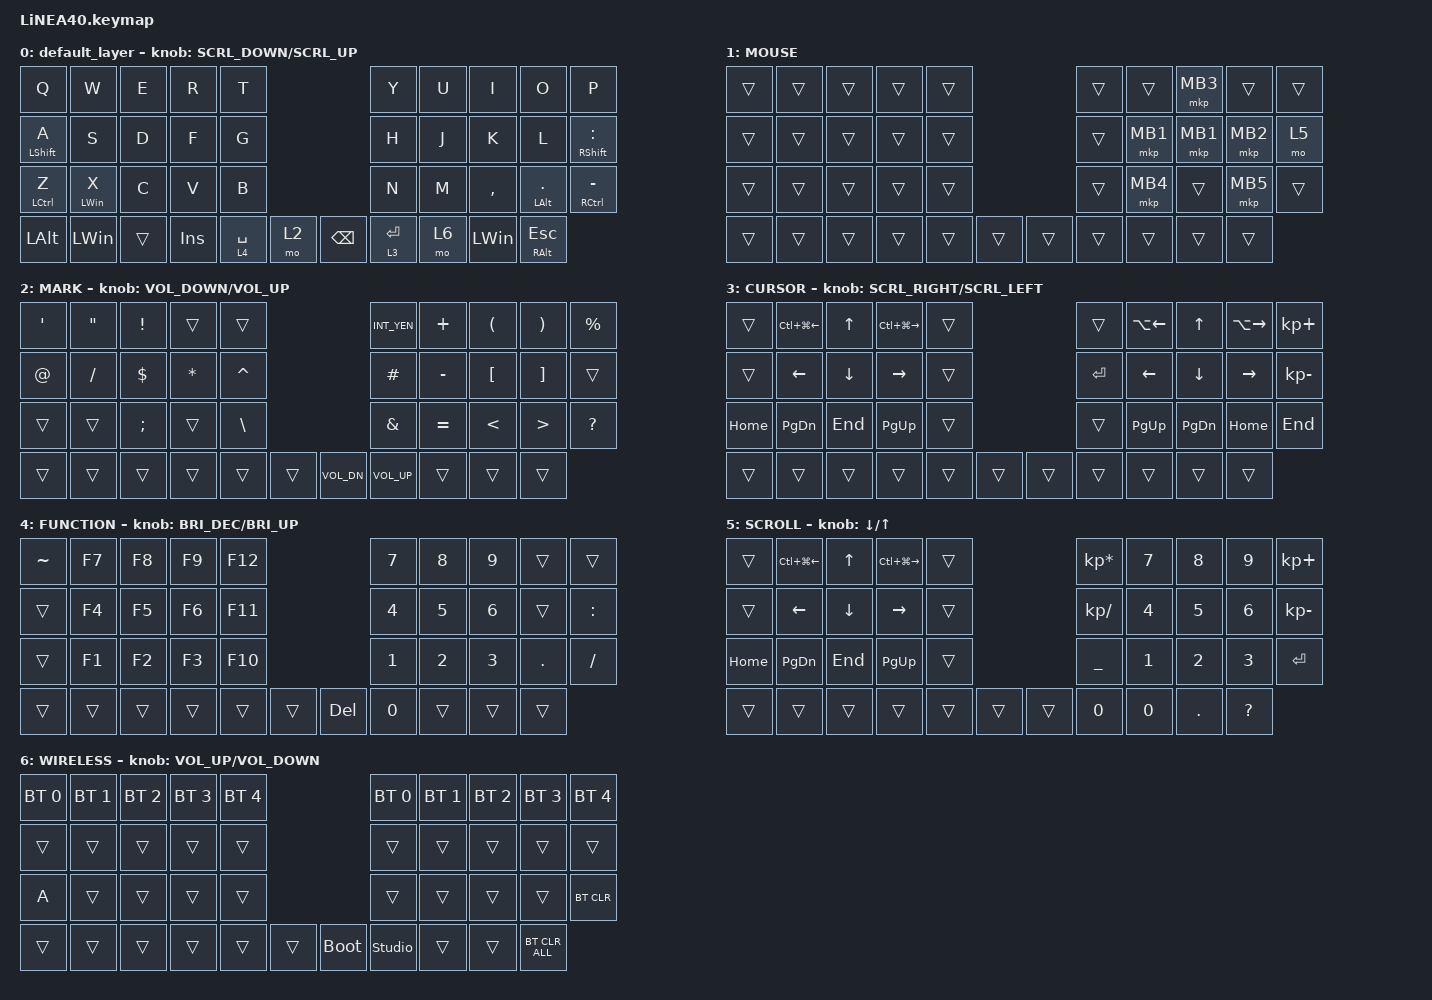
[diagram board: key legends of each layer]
#define ZMK_POINTING_DEFAULT_SCRL_VAL 100

#include <dt-bindings/zmk/input_transform.h>
#include <input/processors.dtsi>
#include <zephyr/dt-bindings/input/input-event-codes.h>
#include <behaviors.dtsi>
#include <dt-bindings/zmk/bt.h>
#include <dt-bindings/zmk/keys.h>
#include <dt-bindings/zmk/pointing.h>

#define MOUSE 1
#define MARK 2
#define CURSOR 3
#define FUNCTION 4
#define SCROLL 5
#define WIRELESS 6

//mouse cursol

&mmv {
    delay-ms = <20>;
    trigger-period-ms = <10>;
    time-to-max-speed-ms = <100>;
    acceleration-exponent = <2>;
};

//mouse scroll

&msc {
    delay-ms = <3>;
    trigger-period-ms = <3>;
    time-to-max-speed-ms = <100>;
    acceleration-exponent = <0>;
};

/ {
    input_processors {
        zip_wheel_scaler: zip_wheel_scaler {
            compatible = "zmk,input-processor-scaler";
            #input-processor-cells = <2>;
            type = <INPUT_EV_REL>;
            codes = <INPUT_REL_WHEEL>;
            track-remainders;
        };
    };
};

&msc_input_listener {
    speed_up {
        layers = <FUNCTION>;
        input-processors = <&zip_wheel_scaler 3 1>; //スクロールを3倍速にする
    };
};

&trackball_listener {
    scroller {
        layers = <MARK SCROLL>;
        input-processors =
            <&zip_xy_transform INPUT_TRANSFORM_Y_INVERT>,
            <&zip_xy_to_scroll_mapper>,
            <&zip_wheel_scaler 1 3>;
 // 1/3 にして細かく
    };
};

/ {
    combos {
        compatible = "zmk,combos";

        COMBO_TAB {
            bindings = <&kp TAB>;
            key-positions = <3 1>;
        };

        COMBO_SHIFTTAB {
            bindings = <&kp LS(TAB)>;
            key-positions = <3 2 1>;
        };

        COMBO_CLICK1 {
            bindings = <&mkp MB1>;
            key-positions = <16 17>;
        };

        COMBO_LAN1 {
            bindings = <&kp LANG1>;
            key-positions = <27 28>;
        };

        COMBO_LANG2 {
            bindings = <&kp LANGUAGE_2>;
            key-positions = <21 22>;
        };

        COMBO_CLICK2 {
            bindings = <&mkp MB2>;
            key-positions = <17 18>;
        };

        COMBO_CLICK3 {
            bindings = <&mkp MB3>;
            key-positions = <16 18>;
        };

        Scroll {
            bindings = <&mo 5>;
            key-positions = <17 16 18>;
        };

        COMBO_ESC {
            bindings = <&kp ESCAPE>;
            key-positions = <2 1>;
        };

        COMBO_BS {
            bindings = <&kp BACKSPACE>;
            key-positions = <13 12>;
        };
    };

    behaviors {
        re_kp: sensor_rotate_kp {
            compatible = "zmk,behavior-sensor-rotate-var";
            #sensor-binding-cells = <2>;
            bindings = <&kp>, <&kp>;
        };

        mouse_scrl: mouse_wheel_scrl {
            compatible = "zmk,behavior-sensor-rotate-var";
            #sensor-binding-cells = <2>;
            bindings = <&msc>, <&msc>;

            tap-ms = <20>;
        };

        mt3: mod_tap3 {
            compatible = "zmk,behavior-hold-tap";
            bindings = <&kp>, <&kp>;

            #binding-cells = <2>;
            tapping-term-ms = <200>;
            flavor = "tap-preferred";
        };
    };

    keymap {
        compatible = "zmk,keymap";

        default_layer {
            bindings = <
&kp Q                &kp W           &kp E   &kp R    &kp T                                &kp Y        &kp U  &kp I      &kp O             &kp P
&mt3 LEFT_SHIFT A    &kp S           &kp D   &kp F    &kp G                                &kp H        &kp J  &kp K      &kp L             &mt3 RIGHT_SHIFT COLON
&mt3 LEFT_CONTROL Z  &mt LEFT_WIN X  &kp C   &kp V    &kp B                                &kp N        &kp M  &kp COMMA  &mt LEFT_ALT DOT  &mt3 RIGHT_CONTROL MINUS
&kp LEFT_ALT         &kp LEFT_WIN    &trans  &kp INS  &lt 4 SPACE  &mo 2    &kp BACKSPACE  &lt 3 ENTER         &mo 6      &kp LEFT_WIN      &mt3 RIGHT_ALT ESCAPE
            >;

            sensor-bindings = <&mouse_scrl SCRL_DOWN SCRL_UP>;
        };

        //1

        MOUSE {
            bindings = <
&trans  &trans  &trans  &trans  &trans                    &trans  &trans    &mkp MB3  &trans    &trans
&trans  &trans  &trans  &trans  &trans                    &trans  &mkp MB1  &mkp MB1  &mkp MB2  &mo 5
&trans  &trans  &trans  &trans  &trans                    &trans  &mkp MB4  &trans    &mkp MB5  &trans
&trans  &trans  &trans  &trans  &trans  &trans    &trans  &trans            &trans    &trans    &trans
            >;
        };

        //2

        MARK {
            bindings = <
&kp SINGLE_QUOTE  &kp DOUBLE_QUOTES  &kp EXCL       &trans     &trans                                 &kp INT_YEN      &kp PLUS   &kp LEFT_PARENTHESIS  &kp RIGHT_PARENTHESIS  &kp PERCENT
&kp AT_SIGN       &kp SLASH          &kp DOLLAR     &kp ASTRK  &kp CARET                              &kp HASH         &kp MINUS  &kp LEFT_BRACKET      &kp RIGHT_BRACKET      &trans
&trans            &trans             &kp SEMICOLON  &trans     &kp BACKSLASH                          &kp AMPERSAND    &kp EQUAL  &kp LESS_THAN         &kp GREATER_THAN       &kp QUESTION
&trans            &trans             &trans         &trans     &trans         &trans    &kp C_VOL_DN  &kp C_VOLUME_UP             &trans                &trans                 &trans
            >;

            sensor-bindings = <&re_kp C_VOLUME_DOWN C_VOLUME_UP>;
        };

        //3

        CURSOR {
            bindings = <
&trans    &kp LC(LG(LEFT_ARROW))  &kp UP_ARROW  &kp LC(LG(RIGHT_ARROW))  &trans                    &trans     &kp LA(LEFT_ARROW)  &kp UP_ARROW   &kp LA(RIGHT)  &kp KP_PLUS
&trans    &kp LEFT_ARROW          &kp DOWN      &kp RIGHT_ARROW          &trans                    &kp ENTER  &kp LEFT_ARROW      &kp DOWN       &kp RIGHT      &kp KP_MINUS
&kp HOME  &kp PAGE_DOWN           &kp END       &kp PAGE_UP              &trans                    &trans     &kp PAGE_UP         &kp PAGE_DOWN  &kp HOME       &kp END
&trans    &trans                  &trans        &trans                   &trans  &trans    &trans  &trans                         &trans         &trans         &trans
            >;

            sensor-bindings = <&mouse_scrl SCRL_RIGHT SCRL_LEFT>;
        };

        //4

        FUNCTION {
            bindings = <
&kp TILDE  &kp F7  &kp F8  &kp F9  &kp F12                        &kp N7  &kp N8  &kp N9  &trans   &trans
&trans     &kp F4  &kp F5  &kp F6  &kp F11                        &kp N4  &kp N5  &kp N6  &trans   &kp COLON
&trans     &kp F1  &kp F2  &kp F3  &kp F10                        &kp N1  &kp N2  &kp N3  &kp DOT  &kp SLASH
&trans     &trans  &trans  &trans  &trans   &trans    &kp DELETE  &kp N0          &trans  &trans   &trans
            >;

            sensor-bindings = <&inc_dec_kp C_BRI_DEC C_BRI_UP>;
        };

        //5

        SCROLL {
            bindings = <
&trans    &kp LC(LG(LEFT_ARROW))  &kp UP_ARROW  &kp LC(LG(RIGHT_ARROW))  &trans                    &kp KP_MULTIPLY  &kp NUMBER_7  &kp NUMBER_8  &kp NUMBER_9  &kp KP_PLUS
&trans    &kp LEFT_ARROW          &kp DOWN      &kp RIGHT_ARROW          &trans                    &kp KP_SLASH     &kp NUMBER_4  &kp NUMBER_5  &kp NUMBER_6  &kp KP_MINUS
&kp HOME  &kp PAGE_DOWN           &kp END       &kp PAGE_UP              &trans                    &kp UNDER        &kp NUMBER_1  &kp NUMBER_2  &kp NUMBER_3  &kp ENTER
&trans    &trans                  &trans        &trans                   &trans  &trans    &trans  &kp NUMBER_0                   &kp NUMBER_0  &kp DOT       &kp QUESTION
            >;

            sensor-bindings = <&inc_dec_kp DOWN_ARROW UP_ARROW>;
        };

        //6

        WIRELESS {
            bindings = <
&bt BT_SEL 0  &bt BT_SEL 1  &bt BT_SEL 2  &bt BT_SEL 3  &bt BT_SEL 4                         &bt BT_SEL 0    &bt BT_SEL 1  &bt BT_SEL 2  &bt BT_SEL 3  &bt BT_SEL 4
&trans        &trans        &trans        &trans        &trans                               &trans          &trans        &trans        &trans        &trans
&kp A         &trans        &trans        &trans        &trans                               &trans          &trans        &trans        &trans        &bt BT_CLR
&trans        &trans        &trans        &trans        &trans        &trans    &bootloader  &studio_unlock                &trans        &trans        &bt BT_CLR_ALL
            >;

            sensor-bindings = <&inc_dec_kp C_VOLUME_UP C_VOLUME_DOWN>;
        };
    };
};
